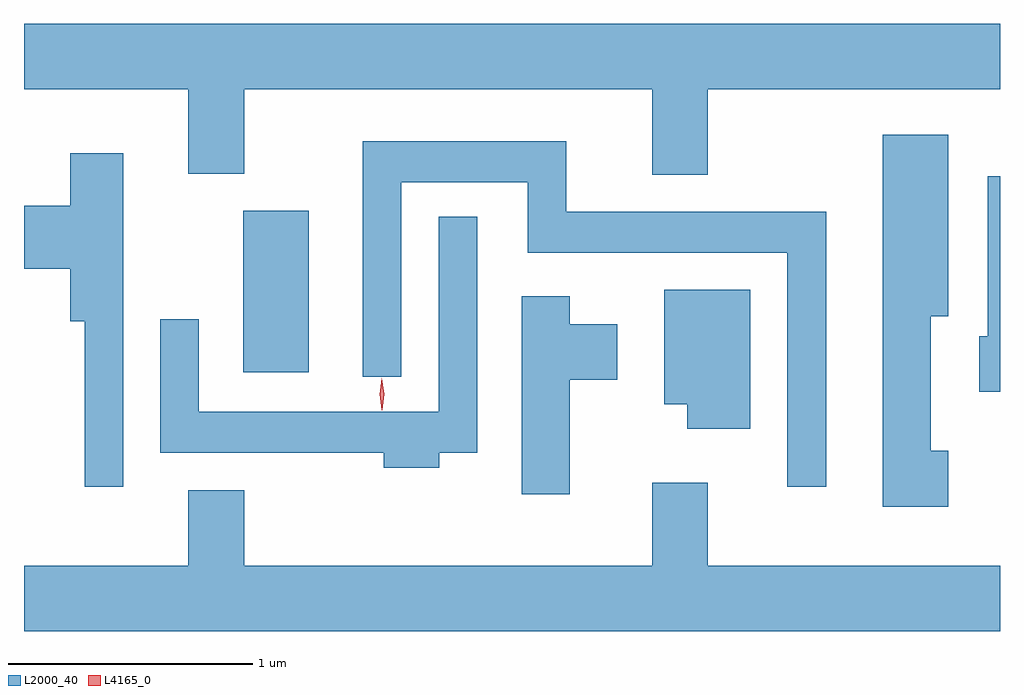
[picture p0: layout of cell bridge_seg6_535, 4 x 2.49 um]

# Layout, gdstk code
import gdstk
lib = gdstk.Library(unit=1e-6, precision=1e-09)
def R(c, l, rs):  # rectangles x0, y0, x1, y1
    for r in rs: c.add(gdstk.rectangle(r[:2], r[2:], *l))
def P(c, l, *ps):  # polygons
    for p in ps: c.add(gdstk.Polygon(p, *l))
L2000_40 = (2000, 40)
L4165_0 = (4165, 0)

bridge_seg6_535 = lib.new_cell('bridge_seg6_535')
R(bridge_seg6_535, L2000_40, [(483.146,1655.436,483.414,1656.099)])
P(bridge_seg6_535, L2000_40, [(485.049,1656.596),(486.247,1656.596),(486.247,1656.864),(482.247,1656.864),(482.247,1656.596),(482.921,1656.596),(482.921,1656.251),(483.149,1656.251),(483.149,1656.596),(484.821,1656.596),(484.821,1656.246),(485.049,1656.246)],
  [(486.034,1655.114),(485.964,1655.114),(485.964,1655.666),(486.034,1655.666),(486.034,1656.409),(485.766,1656.409),(485.766,1654.886),(486.034,1654.886)],
  [(485.534,1656.094),(484.469,1656.094),(484.469,1656.384),(483.636,1656.384),(483.636,1655.418),(483.794,1655.418),(483.794,1656.216),(484.311,1656.216),(484.311,1655.926),(485.376,1655.926),(485.376,1654.968),(485.534,1654.968)],
  [(482.654,1656.334),(482.436,1656.334),(482.436,1656.119),(482.247,1656.119),(482.247,1655.861),(482.436,1655.861),(482.436,1655.646),(482.496,1655.646),(482.496,1654.968),(482.654,1654.968)],
  [(486.247,1656.239),(486.196,1656.239),(486.196,1655.584),(486.161,1655.584),(486.161,1655.356),(486.247,1655.356)],
  [(483.949,1655.106),(484.104,1655.106),(484.104,1656.073),(483.946,1656.073),(483.946,1655.274),(482.964,1655.274),(482.964,1655.653),(482.806,1655.653),(482.806,1655.106),(483.721,1655.106),(483.721,1655.046),(483.949,1655.046)],
  [(485.224,1655.774),(484.871,1655.774),(484.871,1655.306),(484.966,1655.306),(484.966,1655.206),(485.224,1655.206)],
  [(484.484,1655.406),(484.679,1655.406),(484.679,1655.634),(484.484,1655.634),(484.484,1655.749),(484.286,1655.749),(484.286,1654.936),(484.484,1654.936)],
  [(486.247,1654.644),(485.049,1654.644),(485.049,1654.984),(484.821,1654.984),(484.821,1654.644),(483.149,1654.644),(483.149,1654.954),(482.921,1654.954),(482.921,1654.644),(482.247,1654.644),(482.247,1654.376),(486.247,1654.376)])
P(bridge_seg6_535, L4165_0, [(483.714,1655.28),(483.714,1655.28),(483.704,1655.346),(483.713,1655.412),(483.714,1655.413),(483.714,1655.412),(483.724,1655.346),(483.715,1655.28)])

lib.write_gds('bridge_seg6_535.gds')
